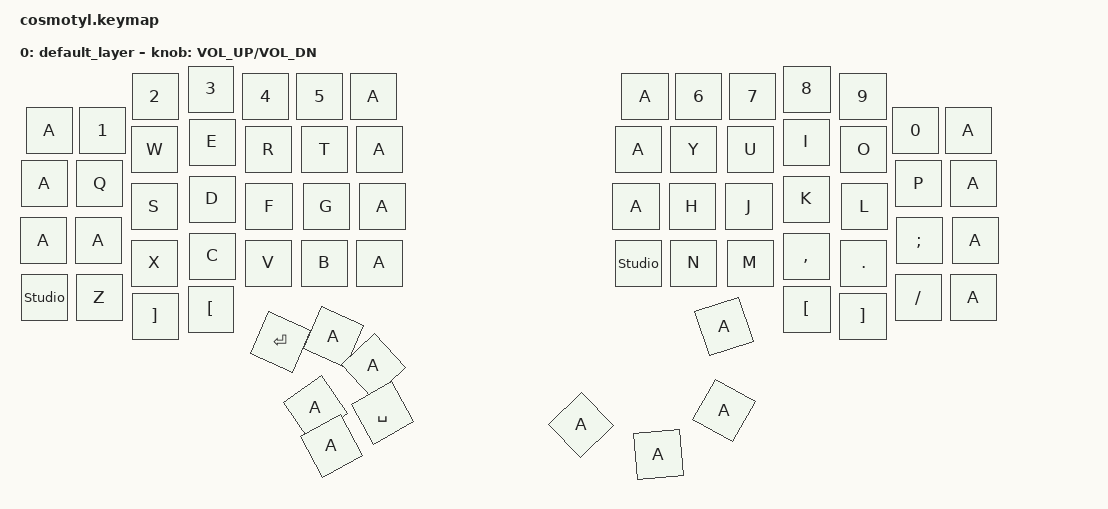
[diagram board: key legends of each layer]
#include <behaviors.dtsi>
#include <dt-bindings/zmk/keys.h>

/ {
    keymap {
        compatible = "zmk,keymap";

        default_layer {
            bindings = <&kp A &kp N1 &kp N2 &kp N3 &kp N4 &kp N5 &kp A &kp A &kp N6 &kp N7 &kp N8 &kp N9 &kp N0 &kp A &kp A &kp Q &kp W &kp E &kp R &kp T &kp A &kp A &kp Y &kp U &kp I &kp O &kp P &kp A &kp A &kp A &kp S &kp D &kp F &kp G &kp A &kp A &kp H &kp J &kp K &kp L &kp SEMI &kp A &studio_unlock &kp Z &kp X &kp C &kp V &kp B &kp A &studio_unlock &kp N &kp M &kp COMMA &kp DOT &kp FSLH &kp A &kp RBKT &kp LBKT &kp LBKT &kp RBKT &kp A &kp ENTER &kp A &kp A &kp SPACE &kp A &kp A &kp A &kp A &kp A>;
            sensor-bindings = <&inc_dec_kp C_VOL_UP C_VOL_DN>;
        };

        extra1 {
            status = "reserved";
        };

        extra2 {
            status = "reserved";
        };

        extra3 {
            status = "reserved";
        };
    };
};
